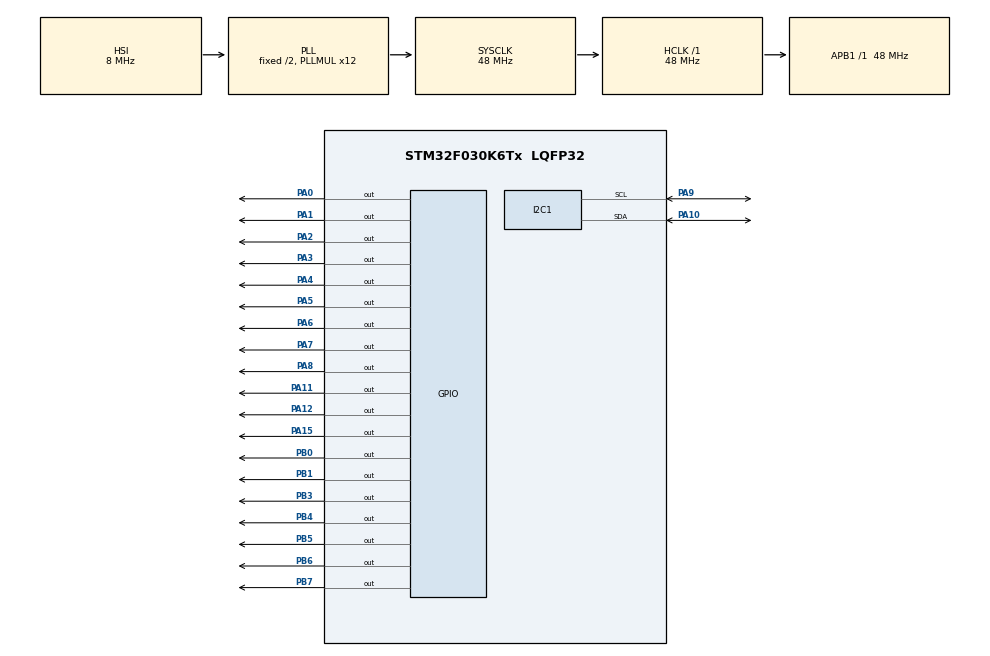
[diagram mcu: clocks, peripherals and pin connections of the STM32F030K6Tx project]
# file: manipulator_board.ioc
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I2C1.OwnAddress=0x60
Mcu.Family=STM32F0
Mcu.Name=STM32F030K6Tx
Mcu.Package=LQFP32
NVIC.I2C1_IRQn=true\:0\:0\:false\:false\:true\:true
PA0.Signal=GPIO_Output
PA1.Signal=GPIO_Output
PA10.Mode=I2C
PA10.Signal=I2C1_SDA
PA11.Signal=GPIO_Output
PA12.Signal=GPIO_Output
PA13.Mode=Serial_Wire
PA13.Signal=SYS_SWDIO
PA14.Mode=Serial_Wire
PA14.Signal=SYS_SWCLK
PA15.Signal=GPIO_Output
PA2.Signal=GPIO_Output
PA3.Signal=GPIO_Output
PA4.Signal=GPIO_Output
PA5.Signal=GPIO_Output
PA6.Signal=GPIO_Output
PA7.Signal=GPIO_Output
PA8.Signal=GPIO_Output
PA9.Mode=I2C
PA9.Signal=I2C1_SCL
PB0.Signal=GPIO_Output
PB1.Signal=GPIO_Output
PB3.Signal=GPIO_Output
PB4.Signal=GPIO_Output
PB5.Signal=GPIO_Output
PB6.Signal=GPIO_Output
PB7.Signal=GPIO_Output
PF0-OSC_IN.Mode=HSE-External-Oscillator
PF0-OSC_IN.Signal=RCC_OSC_IN
PF1-OSC_OUT.Mode=HSE-External-Oscillator
PF1-OSC_OUT.Signal=RCC_OSC_OUT
ProjectManager.HeapSize=0x200
ProjectManager.StackSize=0x400
ProjectManager.TargetToolchain=MDK-ARM V5
RCC.AHBFreq_Value=48000000
RCC.APB1Freq_Value=48000000
RCC.APB1TimFreq_Value=48000000
RCC.HCLKFreq_Value=48000000
RCC.PLLMUL=RCC_PLL_MUL12
RCC.SYSCLKFreq_VALUE=48000000
RCC.SYSCLKSource=RCC_SYSCLKSOURCE_PLLCLK
board=manipulator_board

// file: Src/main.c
/**
  ******************************************************************************
  * File Name          : main.c
  * Description        : Main program body
  ******************************************************************************
  ** This notice applies to any and all portions of this file
  * that are not between comment pairs USER CODE BEGIN and
  * USER CODE END. Other portions of this file, whether
  * inserted by the user or by software development tools
  * are owned by their respective copyright owners.
  *
  * COPYRIGHT(c) 2018 STMicroelectronics
  *
  * Redistribution and use in source and binary forms, with or without modification,
  * are permitted provided that the following conditions are met:
  *   1. Redistributions of source code must retain the above copyright notice,
  *      this list of conditions and the following disclaimer.
  *   2. Redistributions in binary form must reproduce the above copyright notice,
  *      this list of conditions and the following disclaimer in the documentation
  *      and/or other materials provided with the distribution.
  *   3. Neither the name of STMicroelectronics nor the names of its contributors
  *      may be used to endorse or promote products derived from this software
  *      without specific prior written permission.
  *
  * THIS SOFTWARE IS PROVIDED BY THE COPYRIGHT HOLDERS AND CONTRIBUTORS "AS IS"
  * AND ANY EXPRESS OR IMPLIED WARRANTIES, INCLUDING, BUT NOT LIMITED TO, THE
  * IMPLIED WARRANTIES OF MERCHANTABILITY AND FITNESS FOR A PARTICULAR PURPOSE ARE
  * DISCLAIMED. IN NO EVENT SHALL THE COPYRIGHT HOLDER OR CONTRIBUTORS BE LIABLE
  * FOR ANY DIRECT, INDIRECT, INCIDENTAL, SPECIAL, EXEMPLARY, OR CONSEQUENTIAL
  * DAMAGES (INCLUDING, BUT NOT LIMITED TO, PROCUREMENT OF SUBSTITUTE GOODS OR
  * SERVICES; LOSS OF USE, DATA, OR PROFITS; OR BUSINESS INTERRUPTION) HOWEVER
  * CAUSED AND ON ANY THEORY OF LIABILITY, WHETHER IN CONTRACT, STRICT LIABILITY,
  * OR TORT (INCLUDING NEGLIGENCE OR OTHERWISE) ARISING IN ANY WAY OUT OF THE USE
  * OF THIS SOFTWARE, EVEN IF ADVISED OF THE POSSIBILITY OF SUCH DAMAGE.
  *
  ******************************************************************************
  */
#include "main.h"
#include "stm32f0xx_hal.h"

I2C_HandleTypeDef hi2c1;

/* USER CODE BEGIN PV */
/* Private variables ---------------------------------------------------------*/
uint8_t  Rx_buffer[5],dataIn[5];
/* USER CODE END PV */

void SystemClock_Config(void);
static void MX_GPIO_Init(void);
static void MX_I2C1_Init(void);

/* USER CODE BEGIN PFP */
/* Private function prototypes -----------------------------------------------*/
void HAL_I2C_SlaveRxCpltCallback(I2C_HandleTypeDef *hi2c);
/* USER CODE END PFP */

int main(void)
{

  /* MCU Configuration----------------------------------------------------------*/

  /* Reset of all peripherals, Initializes the Flash interface and the Systick. */
  HAL_Init();

  /* Configure the system clock */
  SystemClock_Config();

  /* Initialize all configured peripherals */
  MX_GPIO_Init();
  MX_I2C1_Init();

  /* USER CODE BEGIN 2 */
	HAL_I2C_Slave_Receive_IT(&hi2c1, Rx_buffer, 5);
  /* USER CODE END 2 */

  /* Infinite loop */
  while (1)
  {

  }

}

/** System Clock Configuration
*/
void SystemClock_Config(void)
{

  RCC_OscInitTypeDef RCC_OscInitStruct;
  RCC_ClkInitTypeDef RCC_ClkInitStruct;
  RCC_PeriphCLKInitTypeDef PeriphClkInit;

    /**Initializes the CPU, AHB and APB busses clocks
    */
  RCC_OscInitStruct.OscillatorType = RCC_OSCILLATORTYPE_HSI;
  RCC_OscInitStruct.HSIState = RCC_HSI_ON;
  RCC_OscInitStruct.HSICalibrationValue = 16;
  RCC_OscInitStruct.PLL.PLLState = RCC_PLL_ON;
  RCC_OscInitStruct.PLL.PLLSource = RCC_PLLSOURCE_HSI;
  RCC_OscInitStruct.PLL.PLLMUL = RCC_PLL_MUL12;
  RCC_OscInitStruct.PLL.PREDIV = RCC_PREDIV_DIV1;
  if (HAL_RCC_OscConfig(&RCC_OscInitStruct) != HAL_OK)
  {
    _Error_Handler(__FILE__, __LINE__);
  }

    /**Initializes the CPU, AHB and APB busses clocks
    */
  RCC_ClkInitStruct.ClockType = RCC_CLOCKTYPE_HCLK|RCC_CLOCKTYPE_SYSCLK
                              |RCC_CLOCKTYPE_PCLK1;
  RCC_ClkInitStruct.SYSCLKSource = RCC_SYSCLKSOURCE_PLLCLK;
  RCC_ClkInitStruct.AHBCLKDivider = RCC_SYSCLK_DIV1;
  RCC_ClkInitStruct.APB1CLKDivider = RCC_HCLK_DIV1;

  if (HAL_RCC_ClockConfig(&RCC_ClkInitStruct, FLASH_LATENCY_1) != HAL_OK)
  {
    _Error_Handler(__FILE__, __LINE__);
  }

  PeriphClkInit.PeriphClockSelection = RCC_PERIPHCLK_I2C1;
  PeriphClkInit.I2c1ClockSelection = RCC_I2C1CLKSOURCE_HSI;
  if (HAL_RCCEx_PeriphCLKConfig(&PeriphClkInit) != HAL_OK)
  {
    _Error_Handler(__FILE__, __LINE__);
  }

    /**Configure the Systick interrupt time
    */
  HAL_SYSTICK_Config(HAL_RCC_GetHCLKFreq()/1000);

    /**Configure the Systick
    */
  HAL_SYSTICK_CLKSourceConfig(SYSTICK_CLKSOURCE_HCLK);

  /* SysTick_IRQn interrupt configuration */
  HAL_NVIC_SetPriority(SysTick_IRQn, 0, 0);
}

/* I2C1 init function */
static void MX_I2C1_Init(void)
{

  hi2c1.Instance = I2C1;
  hi2c1.Init.Timing = 0x2000090E;
  hi2c1.Init.OwnAddress1 = 192;
  hi2c1.Init.AddressingMode = I2C_ADDRESSINGMODE_7BIT;
  hi2c1.Init.DualAddressMode = I2C_DUALADDRESS_DISABLE;
  hi2c1.Init.OwnAddress2 = 0;
  hi2c1.Init.OwnAddress2Masks = I2C_OA2_NOMASK;
  hi2c1.Init.GeneralCallMode = I2C_GENERALCALL_DISABLE;
  hi2c1.Init.NoStretchMode = I2C_NOSTRETCH_DISABLE;
  if (HAL_I2C_Init(&hi2c1) != HAL_OK)
  {
    _Error_Handler(__FILE__, __LINE__);
  }

    /**Configure Analogue filter
    */
  if (HAL_I2CEx_ConfigAnalogFilter(&hi2c1, I2C_ANALOGFILTER_ENABLE) != HAL_OK)
  {
    _Error_Handler(__FILE__, __LINE__);
  }

    /**Configure Digital filter
    */
  if (HAL_I2CEx_ConfigDigitalFilter(&hi2c1, 0) != HAL_OK)
  {
    _Error_Handler(__FILE__, __LINE__);
  }

}

/** Configure pins as
        * Analog
        * Input
        * Output
        * EVENT_OUT
        * EXTI
*/
static void MX_GPIO_Init(void)
{

  GPIO_InitTypeDef GPIO_InitStruct;

  /* GPIO Ports Clock Enable */
  __HAL_RCC_GPIOF_CLK_ENABLE();
  __HAL_RCC_GPIOA_CLK_ENABLE();
  __HAL_RCC_GPIOB_CLK_ENABLE();

  /*Configure GPIO pin Output Level */
  HAL_GPIO_WritePin(GPIOA, GPIO_PIN_0|GPIO_PIN_1|GPIO_PIN_2|GPIO_PIN_3
                          |GPIO_PIN_4|GPIO_PIN_5|GPIO_PIN_6|GPIO_PIN_7
                          |GPIO_PIN_8|GPIO_PIN_11|GPIO_PIN_12|GPIO_PIN_15, GPIO_PIN_RESET);

  /*Configure GPIO pin Output Level */
  HAL_GPIO_WritePin(GPIOB, GPIO_PIN_0|GPIO_PIN_1|GPIO_PIN_3|GPIO_PIN_4
                          |GPIO_PIN_5|GPIO_PIN_6|GPIO_PIN_7, GPIO_PIN_RESET);

  /*Configure GPIO pins : PA0 PA1 PA2 PA3
                           PA4 PA5 PA6 PA7
                           PA8 PA11 PA12 PA15 */
  GPIO_InitStruct.Pin = GPIO_PIN_0|GPIO_PIN_1|GPIO_PIN_2|GPIO_PIN_3
                          |GPIO_PIN_4|GPIO_PIN_5|GPIO_PIN_6|GPIO_PIN_7
                          |GPIO_PIN_8|GPIO_PIN_11|GPIO_PIN_12|GPIO_PIN_15;
  GPIO_InitStruct.Mode = GPIO_MODE_OUTPUT_PP;
  GPIO_InitStruct.Pull = GPIO_NOPULL;
  GPIO_InitStruct.Speed = GPIO_SPEED_FREQ_LOW;
  HAL_GPIO_Init(GPIOA, &GPIO_InitStruct);

  /*Configure GPIO pins : PB0 PB1 PB3 PB4
                           PB5 PB6 PB7 */
  GPIO_InitStruct.Pin = GPIO_PIN_0|GPIO_PIN_1|GPIO_PIN_3|GPIO_PIN_4
                          |GPIO_PIN_5|GPIO_PIN_6|GPIO_PIN_7;
  GPIO_InitStruct.Mode = GPIO_MODE_OUTPUT_PP;
  GPIO_InitStruct.Pull = GPIO_NOPULL;
  GPIO_InitStruct.Speed = GPIO_SPEED_FREQ_LOW;
  HAL_GPIO_Init(GPIOB, &GPIO_InitStruct);

}

/* USER CODE BEGIN 4 */
void HAL_I2C_SlaveRxCpltCallback(I2C_HandleTypeDef *hi2c)
{
	memcpy(dataIn,Rx_buffer,5);

	if(dataIn[0]==0x01)	//mode 1 (set pin, 1=HIGH 0=LOW)
	{
		//Byte 1
		for(int i=0; i<8; i++)
		{
			switch(i)
			{
				case 0:
				{
					HAL_GPIO_WritePin(GPIOA, GPIO_PIN_0, dataIn[1]%2);
					break;
				}
				case 1:
				{
					HAL_GPIO_WritePin(GPIOA, GPIO_PIN_1, dataIn[1]%2);
					break;
				}
				case 2:
				{
					HAL_GPIO_WritePin(GPIOA, GPIO_PIN_2, dataIn[1]%2);
					break;
				}
				case 3:
				{
					HAL_GPIO_WritePin(GPIOA, GPIO_PIN_3, dataIn[1]%2);
					break;
				}
				case 4:
				{
					HAL_GPIO_WritePin(GPIOA, GPIO_PIN_4, dataIn[1]%2);
					break;
				}
				case 5:
				{
					HAL_GPIO_WritePin(GPIOA, GPIO_PIN_5, dataIn[1]%2);
					break;
				}
				case 6:
				{
					HAL_GPIO_WritePin(GPIOA, GPIO_PIN_6, dataIn[1]%2);
					break;
				}
				case 7:
				{
					HAL_GPIO_WritePin(GPIOA, GPIO_PIN_7, dataIn[1]%2);
					break;
				}
			}
			dataIn[1]=dataIn[1]>>1;
	}
		//Byte 2
		for(int i=0; i<8; i++)
		{
			switch(i)
			{
				case 0:
				{
					HAL_GPIO_WritePin(GPIOB, GPIO_PIN_0, dataIn[2]%2);
					break;
				}
				case 1:
				{
					HAL_GPIO_WritePin(GPIOB, GPIO_PIN_1, dataIn[2]%2);
					break;
				}
				case 2:
				{
					HAL_GPIO_WritePin(GPIOA, GPIO_PIN_8, dataIn[2]%2);
					break;
				}
				case 3:
				{
					HAL_GPIO_WritePin(GPIOA, GPIO_PIN_11, dataIn[2]%2);
					break;
				}
				case 4:
				{
					HAL_GPIO_WritePin(GPIOA, GPIO_PIN_12, dataIn[2]%2);
					break;
				}
				case 5:
				{
					HAL_GPIO_WritePin(GPIOA, GPIO_PIN_15, dataIn[2]%2);
					break;
				}
				case 6:
				{
					HAL_GPIO_WritePin(GPIOB, GPIO_PIN_3, dataIn[2]%2);
					break;
				}
				case 7:
				{
					HAL_GPIO_WritePin(GPIOB, GPIO_PIN_4, dataIn[2]%2);
					break;
				}
			}
			dataIn[2]=dataIn[2]>>1;
		}
		//Byte 3
		for(int i=0; i<3; i++)
		{
			switch(i)
			{
				case 0:
				{
					HAL_GPIO_WritePin(GPIOB, GPIO_PIN_5, dataIn[3]%2);
					break;
				}
				case 1:
				{
					HAL_GPIO_WritePin(GPIOB, GPIO_PIN_6, dataIn[3]%2);
					break;
				}
				case 2:
				{
					HAL_GPIO_WritePin(GPIOB, GPIO_PIN_7, dataIn[3]%2);
					break;
				}
			}
			dataIn[3]=dataIn[3]>>1;
		}
	}
	if(dataIn[0]==0x02)	//mode 2 (toggle all pin for specific time)
	{
		//Byte 1
		for(int i=0; i<8; i++)
		{
			switch(i)
			{
				case 0:
				{
					if(dataIn[1]%2)
						HAL_GPIO_TogglePin(GPIOA, GPIO_PIN_0);
					break;
				}
				case 1:
				{
					if(dataIn[1]%2)
						HAL_GPIO_TogglePin(GPIOA, GPIO_PIN_1);
					break;
				}
				case 2:
				{
					if(dataIn[1]%2)
						HAL_GPIO_TogglePin(GPIOA, GPIO_PIN_2);
					break;
				}
				case 3:
				{
					if(dataIn[1]%2)
						HAL_GPIO_TogglePin(GPIOA, GPIO_PIN_3);
					break;
				}
				case 4:
				{
					if(dataIn[1]%2)
						HAL_GPIO_TogglePin(GPIOA, GPIO_PIN_4);
					break;
				}
				case 5:
				{
					if(dataIn[1]%2)
						HAL_GPIO_TogglePin(GPIOA, GPIO_PIN_5);
					break;
				}
				case 6:
				{
					if(dataIn[1]%2)
						HAL_GPIO_TogglePin(GPIOA, GPIO_PIN_6);
					break;
				}
				case 7:
				{
					if(dataIn[1]%2)
						HAL_GPIO_TogglePin(GPIOA, GPIO_PIN_7);
					break;
				}
			}
			dataIn[1]=dataIn[1]>>1;
	}
		//Byte 2
		for(int i=0; i<8; i++)
		{
			switch(i)
			{
				case 0:
				{
					if(dataIn[2]%2)
						HAL_GPIO_TogglePin(GPIOB, GPIO_PIN_0);
					break;
				}
				case 1:
				{
					if(dataIn[2]%2)
						HAL_GPIO_TogglePin(GPIOB, GPIO_PIN_1);
					break;
				}
				case 2:
				{
					if(dataIn[2]%2)
						HAL_GPIO_TogglePin(GPIOA, GPIO_PIN_8);
					break;
				}
				case 3:
				{
					if(dataIn[2]%2)
						HAL_GPIO_TogglePin(GPIOA, GPIO_PIN_11);
					break;
				}
				case 4:
				{
					if(dataIn[2]%2)
						HAL_GPIO_TogglePin(GPIOA, GPIO_PIN_12);
					break;
				}
				case 5:
				{
					if(dataIn[2]%2)
						HAL_GPIO_TogglePin(GPIOA, GPIO_PIN_15);
					break;
				}
				case 6:
				{
					if(dataIn[2]%2)
						HAL_GPIO_TogglePin(GPIOB, GPIO_PIN_3);
					break;
				}
				case 7:
				{
					if(dataIn[2]%2)
						HAL_GPIO_TogglePin(GPIOB, GPIO_PIN_4);
					break;
				}
			}
			dataIn[2]=dataIn[2]>>1;
		}
		//Byte 3
		for(int i=0; i<3; i++)
		{
			switch(i)
			{
				case 0:
				{
					if(dataIn[3]%2)
						HAL_GPIO_TogglePin(GPIOB, GPIO_PIN_5);
					break;
				}
				case 1:
				{
					if(dataIn[3]%2)
						HAL_GPIO_TogglePin(GPIOB, GPIO_PIN_6);
					break;
				}
				case 2:
				{
					if(dataIn[3]%2)
						HAL_GPIO_TogglePin(GPIOB, GPIO_PIN_7);
					break;
				}
			}
			dataIn[3]=dataIn[3]>>1;
		}
		//Delay(dataIn[4]);	//delay time = dataIn[1]*100 ms
		for(uint32_t i=0; i<dataIn[4];i++)
			for(uint32_t j=0;j<1000000;j++);
		memcpy(dataIn,Rx_buffer,5);
				//Byte 1
		for(int i=0; i<8; i++)
		{
			switch(i)
			{
				case 0:
				{
					if(dataIn[1]%2)
						HAL_GPIO_TogglePin(GPIOA, GPIO_PIN_0);
					break;
				}
				case 1:
				{
					if(dataIn[1]%2)
						HAL_GPIO_TogglePin(GPIOA, GPIO_PIN_1);
					break;
				}
				case 2:
				{
					if(dataIn[1]%2)
						HAL_GPIO_TogglePin(GPIOA, GPIO_PIN_2);
					break;
				}
				case 3:
				{
					if(dataIn[1]%2)
						HAL_GPIO_TogglePin(GPIOA, GPIO_PIN_3);
					break;
				}
				case 4:
				{
					if(dataIn[1]%2)
						HAL_GPIO_TogglePin(GPIOA, GPIO_PIN_4);
					break;
				}
				case 5:
				{
					if(dataIn[1]%2)
						HAL_GPIO_TogglePin(GPIOA, GPIO_PIN_5);
					break;
				}
				case 6:
				{
					if(dataIn[1]%2)
						HAL_GPIO_TogglePin(GPIOA, GPIO_PIN_6);
					break;
				}
				case 7:
				{
					if(dataIn[1]%2)
						HAL_GPIO_TogglePin(GPIOA, GPIO_PIN_7);
					break;
				}
			}
			dataIn[1]=dataIn[1]>>1;
	}
		//Byte 2
		for(int i=0; i<8; i++)
		{
			switch(i)
			{
				case 0:
				{
					if(dataIn[2]%2)
						HAL_GPIO_TogglePin(GPIOB, GPIO_PIN_0);
					break;
				}
				case 1:
				{
					if(dataIn[2]%2)
						HAL_GPIO_TogglePin(GPIOB, GPIO_PIN_1);
					break;
				}
				case 2:
				{
					if(dataIn[2]%2)
						HAL_GPIO_TogglePin(GPIOA, GPIO_PIN_8);
					break;
				}
				case 3:
				{
					if(dataIn[2]%2)
						HAL_GPIO_TogglePin(GPIOA, GPIO_PIN_11);
					break;
				}
				case 4:
				{
					if(dataIn[2]%2)
						HAL_GPIO_TogglePin(GPIOA, GPIO_PIN_12);
					break;
				}
				case 5:
				{
					if(dataIn[2]%2)
						HAL_GPIO_TogglePin(GPIOA, GPIO_PIN_15);
					break;
				}
				case 6:
				{
					if(dataIn[2]%2)
						HAL_GPIO_TogglePin(GPIOB, GPIO_PIN_3);
					break;
				}
				case 7:
				{
					if(dataIn[2]%2)
						HAL_GPIO_TogglePin(GPIOB, GPIO_PIN_4);
					break;
				}
			}
			dataIn[2]=dataIn[2]>>1;
		}
		//Byte 3
		for(int i=0; i<3; i++)
		{
			switch(i)
			{
				case 0:
				{
					if(dataIn[3]%2)
						HAL_GPIO_TogglePin(GPIOB, GPIO_PIN_5);
					break;
				}
				case 1:
				{
					if(dataIn[3]%2)
						HAL_GPIO_TogglePin(GPIOB, GPIO_PIN_6);
					break;
				}
				case 2:
				{
					if(dataIn[3]%2)
						HAL_GPIO_TogglePin(GPIOB, GPIO_PIN_7);
					break;
				}
			}
			dataIn[3]=dataIn[3]>>1;
		}
	}

	HAL_I2C_Slave_Receive_IT(&hi2c1, Rx_buffer, 5);
}
/* USER CODE END 4 */

void _Error_Handler(char * file, int line)
{
  while(1)
  {
  }
}

/************************ (C) COPYRIGHT STMicroelectronics *****END OF FILE****/
